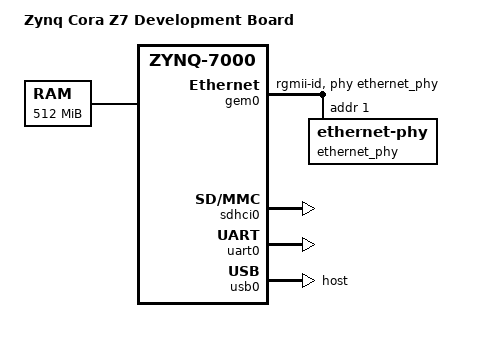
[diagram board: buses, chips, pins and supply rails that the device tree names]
/*
 * Digilent Cora Z7 board DTS
 *
 *  Copyright (C) 2016 Digilent
 *
 * SPDX-License-Identifier:	GPL-2.0+
 */

#include "zynq-7000.dtsi"

/ {
	model = "Zynq Cora Z7 Development Board";
	compatible = "digilent,zynq-coraz7", "xlnx,zynq-7000";

	aliases {
		ethernet0 = &gem0;
		serial0 = &uart0;
		mmc0 = &sdhci0;
	};

	memory@0 {
		device_type = "memory";
		reg = <0x0 0x20000000>;
	};

	chosen {
		bootargs = "console=ttyPS0,115200 root=/dev/mmcblk0p2 rw earlyprintk rootfstype=ext4 rootwait";
		stdout-path = "serial0:115200n8";
	};

	fpga_axi: fpga-axi@0 {
		compatible = "simple-bus";
		#address-cells = <0x1>;
		#size-cells = <0x1>;
		ranges;

		axi_sysid_0: axi-sysid-0@45000000 {
			compatible = "adi,axi-sysid-1.00.a";
			reg = <0x45000000 0x10000>;
		};
	};
};

&cpu1 {
	status = "disabled";
};

&clkc {
	ps-clk-frequency = <50000000>;
};

&gem0 {
	status = "okay";
	phy-mode = "rgmii-id";
	phy-handle = <&ethernet_phy>;

	ethernet_phy: ethernet-phy@0 { 
		reg = <1>;
		device_type = "ethernet-phy";
	};
};

&sdhci0 {
	u-boot,dm-pre-reloc;
	status = "okay";
};

&uart0 {
	u-boot,dm-pre-reloc;
	status = "okay";
};

&usb0 {
	status = "okay";
	dr_mode = "host";
};

